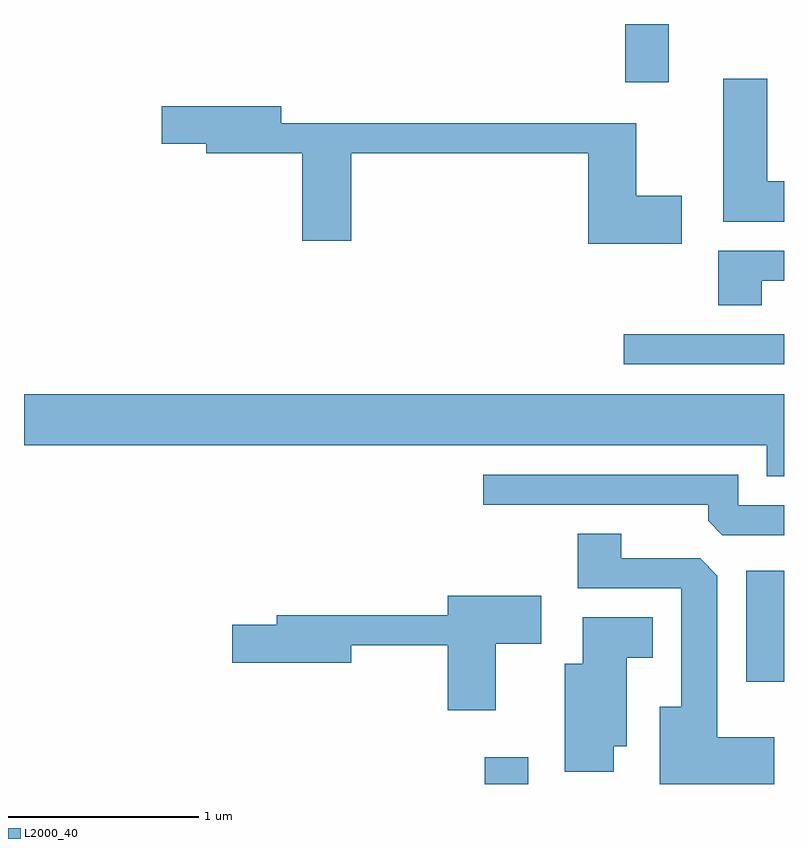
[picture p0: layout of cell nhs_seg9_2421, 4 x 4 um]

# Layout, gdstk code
import gdstk
lib = gdstk.Library(unit=1e-6, precision=1e-09)
def R(c, l, rs):  # rectangles x0, y0, x1, y1
    for r in rs: c.add(gdstk.rectangle(r[:2], r[2:], *l))
def P(c, l, *ps):  # polygons
    for p in ps: c.add(gdstk.Polygon(p, *l))
L2000_40 = (2000, 40)

nhs_seg9_2421 = lib.new_cell('nhs_seg9_2421')
R(nhs_seg9_2421, L2000_40, [(258.036,2034.432,258.264,2034.574), (259.411,2034.971,259.611,2035.554), (258.767,2036.641,259.611,2036.799), (258.776,2038.126,259.004,2038.432)])
P(nhs_seg9_2421, L2000_40, [(259.611,2037.604),(259.524,2037.604),(259.524,2038.144),(259.291,2038.144),(259.291,2037.391),(259.611,2037.391)],
  [(259.074,2037.529),(258.834,2037.529),(258.834,2037.909),(256.964,2037.909),(256.964,2037.999),(256.336,2037.999),(256.336,2037.801),(256.571,2037.801),(256.571,2037.751),(257.076,2037.751),(257.076,2037.291),(257.334,2037.291),(257.334,2037.751),(258.581,2037.751),(258.581,2037.276),(259.074,2037.276)],
  [(259.494,2037.081),(259.611,2037.081),(259.611,2037.239),(259.266,2037.239),(259.266,2036.951),(259.494,2036.951)],
  [(259.611,2036.484),(255.611,2036.484),(255.611,2036.216),(259.521,2036.216),(259.521,2036.051),(259.611,2036.051)],
  [(259.611,2035.899),(259.369,2035.899),(259.369,2036.059),(258.028,2036.059),(258.028,2035.901),(259.211,2035.901),(259.211,2035.817),(259.287,2035.741),(259.611,2035.741)],
  [(259.559,2034.679),(259.259,2034.679),(259.259,2035.529),(259.169,2035.619),(258.754,2035.619),(258.754,2035.749),(258.526,2035.749),(258.526,2035.461),(259.071,2035.461),(259.071,2034.839),(258.956,2034.839),(258.956,2034.432),(259.559,2034.432)],
  [(258.094,2035.171),(258.334,2035.171),(258.334,2035.424),(257.841,2035.424),(257.841,2035.319),(256.941,2035.319),(256.941,2035.269),(256.706,2035.269),(256.706,2035.071),(257.334,2035.071),(257.334,2035.161),(257.841,2035.161),(257.841,2034.821),(258.094,2034.821)],
  [(258.714,2034.631),(258.784,2034.631),(258.784,2035.096),(258.919,2035.096),(258.919,2035.309),(258.551,2035.309),(258.551,2035.064),(258.456,2035.064),(258.456,2034.496),(258.714,2034.496)])

lib.write_gds('nhs_seg9_2421.gds')
